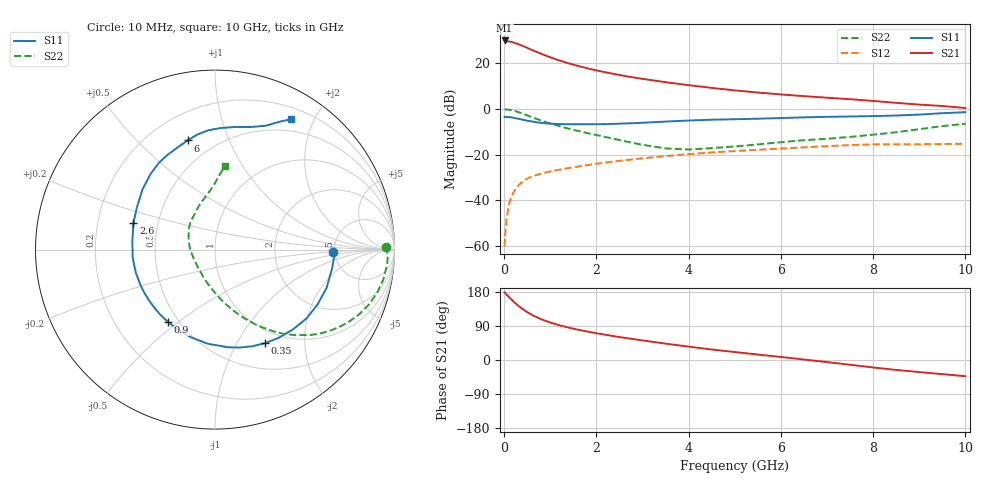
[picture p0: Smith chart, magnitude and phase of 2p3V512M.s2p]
! (c) 2009  Infineon Technologies AG, Munich
! Infineon Technologies  Discrete & RF Semiconductors
! BFP420
! VCE =  3.5 V,  IC =  12 mA
! Common Emitter S-Parameters:  Nov 2009
# GHz  S  MA  R  50
!  f  S11  S21  S12  S22
! GHz  MAG  ANG  MAG  ANG  MAG  ANG  MAG  ANG
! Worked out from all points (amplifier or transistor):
!   46 points, 10 MHz to 10 GHz, reference 50 ohm
!   highest |S21| = 29.8 dB at 10 MHz (marker M1)
!   |S21| within 3 dB of that: start of sweep to 473 MHz
!   unconditionally stable (mu >= 1): 2.23 GHz to end of sweep
!   at 300 MHz: K = 0.24, MSG = 31.0 dB, |S12| = -33.7 dB
!   at 1.7 GHz: K = 0.86, MSG = 21.6 dB, |S12| = -24.9 dB
!   at 10 GHz: K = 1.08, MAG = 6.1 dB, |S12| = -15.3 dB
!   lowest NFmin = 0.95 dB at 900 MHz
!   S11 on the Smith chart (normalised r, x): 10 MHz: 4.87, -0.26; 350 MHz: 0.82, -1.32; 900 MHz: 0.44, -0.46; 2.6 GHz: 0.36, +0.14; 6 GHz: 0.36, +0.72; 10 GHz: 0.34, +1.69
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0.01  0.6599 -1.3  30.97 178.8  0.001 83.9  0.9527 1.0
0.02  0.6651 -3.4  30.06 177.0  0.0017 65.4  0.9633 -1.8
0.1  0.6573 -18.9  29.53 166.8  0.0078 77.6  0.9527 -10.1
0.2  0.6378 -37.0  27.96 154.8  0.0147 71.9  0.9093 -19.8
0.3  0.6068 -53.9  25.84 143.9  0.0207 66.1  0.8484 -28.2
0.35  0.5912 -61.7  24.72 139.1  0.0233 63.5  0.8151 -32.0
0.45  0.5626 -75.9  22.44 130.3  0.0278 59.0  0.7483 -38.7
0.6  0.5258 -94.5  19.29 119.2  0.033 54.2  0.6555 -46.7
0.7  0.5067 -105.2  17.48 113.2  0.0358 51.9  0.6018 -51.1
0.9  0.4811 -122.9  14.5 103.1  0.0405 48.9  0.5138 -58.1
1.2  0.4635 -143.5  11.32 91.6  0.0468 46.6  0.4166 -66.8
1.4  0.4599 -154.4  9.806 85.4  0.0507 45.7  0.3684 -71.7
1.7  0.4587 -167.9  8.122 77.6  0.0567 44.5  0.3113 -78.5
2.2  0.4631 174.2  6.242 66.5  0.0669 42.3  0.241 -90.0
2.6  0.4778 162.0  5.235 58.7  0.0748 40.1  0.1971 -101.1
3.5  0.5247 140.4  3.798 43.2  0.0925 34.3  0.1363 -135.6
4.5  0.5764 122.7  2.853 27.7  0.111 26.5  0.1381 -179.7
5.5  0.6058 110.2  2.259 14.4  0.1272 18.8  0.1665 152.3
6  0.627 104.1  2.054 8.0  0.1352 15.1  0.1862 141.2
7  0.6659 93.2  1.742 -5.6  0.1525 6.4  0.2211 122.9
8.5  0.7108 73.9  1.345 -26.2  0.1674 -9.6  0.3073 98.5
10  0.841 59.8  1.039 -42.8  0.1719 -20.3  0.4704 83.2
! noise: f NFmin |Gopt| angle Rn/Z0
0.9  0.95  0.03  -151  0.13
1.8  1.27  0.13  -152  0.12
2.4  1.38  0.13  -160  0.14
3  1.43  0.22  -145  0.13
4  1.58  0.35  -123  0.17
5  2.03  0.43  -103  0.28
6  2.4  0.47  -91  0.43
